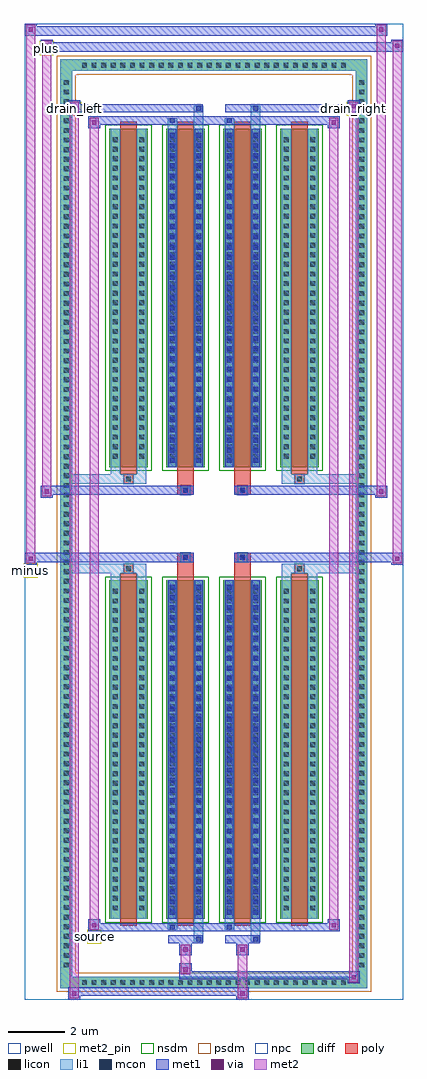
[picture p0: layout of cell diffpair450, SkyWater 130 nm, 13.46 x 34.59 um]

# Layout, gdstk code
import gdstk
lib = gdstk.Library(unit=1e-6, precision=5e-09)
def R(c, l, rs):  # rectangles x0, y0, x1, y1
    for r in rs: c.add(gdstk.rectangle(r[:2], r[2:], *l))
def A(c, l, x, y, w, h, nx, ny, dx, dy):  # array of equal rectangles
    R(c, l, [(x+i*dx, y+j*dy, x+i*dx+w, y+j*dy+h) for i in range(nx) for j in range(ny)])
def P(c, l, *ps):  # polygons
    for p in ps: c.add(gdstk.Polygon(p, *l))
pwell = (64, 44)
diff = (65, 20)
poly = (66, 20)
licon = (66, 44)
li1 = (67, 20)
mcon = (67, 44)
met1 = (68, 20)
via = (68, 44)
met2_pin = (69, 16)
met2 = (69, 20)
nsdm = (93, 44)
psdm = (94, 20)
npc = (95, 20)

diffpair450 = lib.new_cell('diffpair450')
R(diffpair450, pwell, [(-6.71,-16.86,6.71,17.73), (-4.03,-15.05,-0.01,-0.825), (0.01,-15.05,4.03,-0.825), (-4.03,0.825,-0.01,15.05), (0.01,0.825,4.03,15.05)])
A(diffpair450, diff, -4.795, -16.46, 0.41, 0.41, 28, 2, 0.34, 32.51)
A(diffpair450, diff, -5.44, -15.845, 0.41, 0.41, 1, 93, 0, 0.34)
A(diffpair450, diff, 5.03, -15.845, 0.41, 0.41, 1, 93, 0, 0.34)
A(diffpair450, diff, -3.72, -14.005, 1.38, 12, 4, 2, 2.02, 16.01)
R(diffpair450, diff, [(-4.795,-16.46,4.795,-16.05), (-5.44,-15.845,-5.03,15.845), (5.03,-15.845,5.44,15.845), (-4.795,16.05,4.795,16.46)])
P(diffpair450, diff, [(5.44,16.46),(-5.44,16.46),(-5.44,-16.05),(-5.03,-16.05),(-5.03,16.05),(5.03,16.05),(5.03,-16.05),(-5.03,-16.05),(-5.44,-16.05),(-5.44,-16.46),(5.44,-16.46)])
A(diffpair450, poly, -3.33, -14.255, 0.6, 12.5, 4, 2, 2.02, 16.01)
R(diffpair450, poly, [(-3.195,-1.755,-2.865,-1.425), (-3.195,-1.755,-2.865,-1.425), (-1.31,-1.755,-0.71,-1.355), (0.71,-1.755,1.31,-1.355), (2.865,-1.755,3.195,-1.425), (2.865,-1.755,3.195,-1.425), (-1.31,-1.355,-0.71,-1.025), (-1.175,-1.355,-0.845,-1.025), (0.71,-1.355,1.31,-1.025), (0.845,-1.355,1.175,-1.025), (-1.31,1.025,-0.71,1.355), (-1.175,1.025,-0.845,1.355), (0.71,1.025,1.31,1.355), (0.845,1.025,1.175,1.355), (-1.31,1.355,-0.71,1.755), (0.71,1.355,1.31,1.755), (-3.195,1.425,-2.865,1.755), (-3.195,1.425,-2.865,1.755), (2.865,1.425,3.195,1.755), (2.865,1.425,3.195,1.755)])
A(diffpair450, licon, -4.675, -16.34, 0.17, 0.17, 28, 2, 0.34, 32.51)
A(diffpair450, licon, -5.32, -15.725, 0.17, 0.17, 1, 93, 0, 0.34)
A(diffpair450, licon, 5.15, -15.725, 0.17, 0.17, 1, 93, 0, 0.34)
A(diffpair450, licon, -3.58, -13.7, 0.17, 0.17, 1, 34, 0, 0.34)
A(diffpair450, licon, -2.65, -13.7, 0.17, 0.17, 1, 34, 0, 0.34)
A(diffpair450, licon, -1.56, -13.7, 0.17, 0.17, 1, 34, 0, 0.34)
A(diffpair450, licon, -0.63, -13.7, 0.17, 0.17, 1, 34, 0, 0.34)
A(diffpair450, licon, 0.46, -13.7, 0.17, 0.17, 1, 34, 0, 0.34)
A(diffpair450, licon, 1.39, -13.7, 0.17, 0.17, 1, 34, 0, 0.34)
A(diffpair450, licon, 2.48, -13.7, 0.17, 0.17, 1, 34, 0, 0.34)
A(diffpair450, licon, 3.41, -13.7, 0.17, 0.17, 1, 34, 0, 0.34)
A(diffpair450, licon, -3.58, 2.31, 0.17, 0.17, 1, 34, 0, 0.34)
A(diffpair450, licon, -2.65, 2.31, 0.17, 0.17, 1, 34, 0, 0.34)
A(diffpair450, licon, -1.56, 2.31, 0.17, 0.17, 1, 34, 0, 0.34)
A(diffpair450, licon, -0.63, 2.31, 0.17, 0.17, 1, 34, 0, 0.34)
A(diffpair450, licon, 0.46, 2.31, 0.17, 0.17, 1, 34, 0, 0.34)
A(diffpair450, licon, 1.39, 2.31, 0.17, 0.17, 1, 34, 0, 0.34)
A(diffpair450, licon, 2.48, 2.31, 0.17, 0.17, 1, 34, 0, 0.34)
A(diffpair450, licon, 3.41, 2.31, 0.17, 0.17, 1, 34, 0, 0.34)
R(diffpair450, licon, [(-3.115,-1.675,-2.945,-1.505), (2.945,-1.675,3.115,-1.505), (-1.095,-1.275,-0.925,-1.105), (0.925,-1.275,1.095,-1.105), (-1.095,1.105,-0.925,1.275), (0.925,1.105,1.095,1.275), (-3.115,1.505,-2.945,1.675), (2.945,1.505,3.115,1.675)])
A(diffpair450, li1, -4.755, -16.42, 0.33, 0.33, 28, 2, 0.34, 32.51)
A(diffpair450, li1, -5.4, -15.805, 0.33, 0.33, 1, 93, 0, 0.34)
A(diffpair450, li1, 5.07, -15.805, 0.33, 0.33, 1, 93, 0, 0.34)
A(diffpair450, li1, -1.56, -13.85, 0.17, 0.17, 1, 33, 0, 0.36)
A(diffpair450, li1, -0.63, -13.85, 0.17, 0.17, 1, 33, 0, 0.36)
A(diffpair450, li1, 0.46, -13.85, 0.17, 0.17, 1, 33, 0, 0.36)
A(diffpair450, li1, 1.39, -13.85, 0.17, 0.17, 1, 33, 0, 0.36)
A(diffpair450, li1, -3.66, -13.78, 0.33, 0.33, 1, 34, 0, 0.34)
A(diffpair450, li1, -2.73, -13.78, 0.33, 0.33, 1, 34, 0, 0.34)
A(diffpair450, li1, -1.64, -13.78, 0.33, 0.33, 1, 34, 0, 0.34)
A(diffpair450, li1, -0.71, -13.78, 0.33, 0.33, 1, 34, 0, 0.34)
A(diffpair450, li1, 0.38, -13.78, 0.33, 0.33, 1, 34, 0, 0.34)
A(diffpair450, li1, 1.31, -13.78, 0.33, 0.33, 1, 34, 0, 0.34)
A(diffpair450, li1, 2.4, -13.78, 0.33, 0.33, 1, 34, 0, 0.34)
A(diffpair450, li1, 3.33, -13.78, 0.33, 0.33, 1, 34, 0, 0.34)
A(diffpair450, li1, -1.56, 2.16, 0.17, 0.17, 1, 33, 0, 0.36)
A(diffpair450, li1, -0.63, 2.16, 0.17, 0.17, 1, 33, 0, 0.36)
A(diffpair450, li1, 0.46, 2.16, 0.17, 0.17, 1, 33, 0, 0.36)
A(diffpair450, li1, 1.39, 2.16, 0.17, 0.17, 1, 33, 0, 0.36)
A(diffpair450, li1, -3.66, 2.23, 0.33, 0.33, 1, 34, 0, 0.34)
A(diffpair450, li1, -2.73, 2.23, 0.33, 0.33, 1, 34, 0, 0.34)
A(diffpair450, li1, -1.64, 2.23, 0.33, 0.33, 1, 34, 0, 0.34)
A(diffpair450, li1, -0.71, 2.23, 0.33, 0.33, 1, 34, 0, 0.34)
A(diffpair450, li1, 0.38, 2.23, 0.33, 0.33, 1, 34, 0, 0.34)
A(diffpair450, li1, 1.31, 2.23, 0.33, 0.33, 1, 34, 0, 0.34)
A(diffpair450, li1, 2.4, 2.23, 0.33, 0.33, 1, 34, 0, 0.34)
A(diffpair450, li1, 3.33, 2.23, 0.33, 0.33, 1, 34, 0, 0.34)
R(diffpair450, li1, [(-5.44,-16.46,-5.03,-16.05), (-5.44,-16.46,-5.03,-16.05), (-5.03,-16.46,5.03,-16.05), (5.03,-16.46,5.44,-16.05), (5.03,-16.46,5.44,-16.05), (-5.44,-16.05,-5.03,16.05), (5.03,-16.05,5.44,16.05), (-0.71,-14.81,-0.38,-14.005), (-0.63,-14.81,-0.46,-14.64), (1.31,-14.81,1.64,-14.005), (1.39,-14.81,1.56,-14.64), (-1.64,-14.38,-1.31,-14.005), (-1.56,-14.38,-1.39,-14.21), (0.38,-14.38,0.71,-14.005), (0.46,-14.38,0.63,-14.21), (-3.66,-14.005,-3.33,-2.005), (-2.73,-14.005,-2.4,-2.005), (-1.64,-14.005,-1.31,-2.005), (-0.71,-14.005,-0.38,-2.005), (0.38,-14.005,0.71,-2.005), (1.31,-14.005,1.64,-2.005), (2.4,-14.005,2.73,-2.005), (3.33,-14.005,3.66,-2.005), (-1.56,-13.85,-1.39,-2.16), (-0.63,-13.85,-0.46,-2.16), (0.46,-13.85,0.63,-2.16), (1.39,-13.85,1.56,-2.16), (-3.66,-2.005,-3.33,-1.425), (-2.73,-2.005,-2.4,-1.425), (2.4,-2.005,2.73,-1.425), (3.33,-2.005,3.66,-1.425), (-5.44,-1.755,-3.195,-1.425), (-3.66,-1.755,-3.195,-1.425), (-3.195,-1.755,-2.865,-1.425), (-2.865,-1.755,-2.4,-1.425), (2.4,-1.755,2.865,-1.425), (2.865,-1.755,3.195,-1.425), (2.865,-1.755,5.44,-1.425), (3.195,-1.755,3.66,-1.425), (-1.175,-1.355,-0.845,-1.025), (0.845,-1.355,1.175,-1.025), (-1.175,1.025,-0.845,1.355), (0.845,1.025,1.175,1.355), (-5.44,1.425,-3.195,1.755), (-3.66,1.425,-3.195,1.755), (-3.66,1.425,-3.33,2.005), (-3.195,1.425,-2.865,1.755), (-2.865,1.425,-2.4,1.755), (-2.73,1.425,-2.4,2.005), (2.4,1.425,2.865,1.755), (2.4,1.425,2.73,2.005), (2.865,1.425,3.195,1.755), (2.865,1.425,5.44,1.755), (3.195,1.425,3.66,1.755), (3.33,1.425,3.66,2.005), (-3.66,2.005,-3.33,14.005), (-2.73,2.005,-2.4,14.005), (-1.64,2.005,-1.31,14.005), (-0.71,2.005,-0.38,14.005), (0.38,2.005,0.71,14.005), (1.31,2.005,1.64,14.005), (2.4,2.005,2.73,14.005), (3.33,2.005,3.66,14.005), (-1.56,2.16,-1.39,13.85), (-0.63,2.16,-0.46,13.85), (0.46,2.16,0.63,13.85), (1.39,2.16,1.56,13.85), (-1.64,14.005,-1.31,14.38), (-0.71,14.005,-0.38,14.81), (0.38,14.005,0.71,14.38), (1.31,14.005,1.64,14.81), (-1.56,14.21,-1.39,14.38), (0.46,14.21,0.63,14.38), (-0.63,14.64,-0.46,14.81), (1.39,14.64,1.56,14.81), (-5.44,16.05,-5.03,16.46), (-5.44,16.05,-5.03,16.46), (-5.03,16.05,5.03,16.46), (5.03,16.05,5.44,16.46), (5.03,16.05,5.44,16.46)])
A(diffpair450, mcon, -1.56, -13.85, 0.17, 0.17, 1, 33, 0, 0.36)
A(diffpair450, mcon, -0.63, -13.85, 0.17, 0.17, 1, 33, 0, 0.36)
A(diffpair450, mcon, 0.46, -13.85, 0.17, 0.17, 1, 33, 0, 0.36)
A(diffpair450, mcon, 1.39, -13.85, 0.17, 0.17, 1, 33, 0, 0.36)
A(diffpair450, mcon, -1.56, 2.16, 0.17, 0.17, 1, 33, 0, 0.36)
A(diffpair450, mcon, -0.63, 2.16, 0.17, 0.17, 1, 33, 0, 0.36)
A(diffpair450, mcon, 0.46, 2.16, 0.17, 0.17, 1, 33, 0, 0.36)
A(diffpair450, mcon, 1.39, 2.16, 0.17, 0.17, 1, 33, 0, 0.36)
R(diffpair450, mcon, [(-0.63,-14.81,-0.46,-14.64), (1.39,-14.81,1.56,-14.64), (-1.56,-14.38,-1.39,-14.21), (0.46,-14.38,0.63,-14.21), (-1.095,-1.275,-0.925,-1.105), (0.925,-1.275,1.095,-1.105), (-1.095,1.105,-0.925,1.275), (0.925,1.105,1.095,1.275), (-1.56,14.21,-1.39,14.38), (0.46,14.21,0.63,14.38), (-0.63,14.64,-0.46,14.81), (1.39,14.64,1.56,14.81)])
A(diffpair450, met1, -1.62, -13.91, 0.29, 0.29, 1, 33, 0, 0.36)
A(diffpair450, met1, -0.69, -13.91, 0.29, 0.29, 1, 33, 0, 0.36)
A(diffpair450, met1, 0.4, -13.91, 0.29, 0.29, 1, 33, 0, 0.36)
A(diffpair450, met1, 1.33, -13.91, 0.29, 0.29, 1, 33, 0, 0.36)
A(diffpair450, met1, -1.62, 2.1, 0.29, 0.29, 1, 33, 0, 0.36)
A(diffpair450, met1, -0.69, 2.1, 0.29, 0.29, 1, 33, 0, 0.36)
A(diffpair450, met1, 0.4, 2.1, 0.29, 0.29, 1, 33, 0, 0.36)
A(diffpair450, met1, 1.33, 2.1, 0.29, 0.29, 1, 33, 0, 0.36)
R(diffpair450, met1, [(-5.17,-16.86,-4.74,-16.43), (0.795,-16.86,1.225,-16.43), (-5.17,-16.72,1.225,-16.43), (4.74,-16.29,5.17,-15.86), (-1.225,-16.15,5.17,-15.86), (-1.225,-16.01,-0.795,-15.58), (-1.225,-15.3,-0.795,-14.87), (0.795,-15.3,1.225,-14.87), (-1.62,-14.87,-0.4,-14.58), (-0.69,-14.87,-0.4,-14.58), (0.4,-14.87,1.62,-14.58), (1.33,-14.87,1.62,-14.58), (-4.46,-14.44,-4.03,-14.01), (-4.46,-14.44,-1.62,-14.15), (-1.62,-14.44,-1.33,-14.15), (-1.62,-14.44,-0.4,-14.15), (-0.4,-14.44,0.4,-14.15), (0.4,-14.44,0.69,-14.15), (0.4,-14.44,1.62,-14.15), (1.62,-14.44,4.46,-14.15), (4.03,-14.44,4.46,-14.01), (-1.62,-14.005,-1.33,-2.005), (-0.69,-14.005,-0.4,-2.005), (0.4,-14.005,0.69,-2.005), (1.33,-14.005,1.62,-2.005), (-6.71,-1.455,-6.28,-1.025), (6.28,-1.455,6.71,-1.025), (-6.71,-1.355,-0.71,-1.025), (-1.31,-1.355,-0.71,-1.025), (0.71,-1.355,1.31,-1.025), (0.71,-1.355,6.71,-1.025), (-1.155,-1.335,-0.865,-1.045), (0.865,-1.335,1.155,-1.045), (-6.14,0.925,-5.71,1.355), (5.71,0.925,6.14,1.355), (-6.14,1.025,-1.31,1.355), (-1.31,1.025,-0.71,1.355), (0.71,1.025,1.31,1.355), (1.31,1.025,6.14,1.355), (-1.155,1.045,-0.865,1.335), (0.865,1.045,1.155,1.335), (-1.62,2.005,-1.33,14.005), (-0.69,2.005,-0.4,14.005), (0.4,2.005,0.69,14.005), (1.33,2.005,1.62,14.005), (-4.46,14.01,-4.03,14.44), (4.03,14.01,4.46,14.44), (-4.46,14.15,-1.62,14.44), (-1.62,14.15,-1.33,14.44), (-1.62,14.15,-0.4,14.44), (-0.4,14.15,0.4,14.44), (0.4,14.15,0.69,14.44), (0.4,14.15,1.62,14.44), (1.62,14.15,4.46,14.44), (-5.17,14.58,-4.74,15.01), (-5.17,14.58,-1.62,14.87), (-1.62,14.58,-0.4,14.87), (-0.69,14.58,-0.4,14.87), (0.4,14.58,1.62,14.87), (1.33,14.58,1.62,14.87), (1.62,14.58,5.17,14.87), (4.74,14.58,5.17,15.01), (-6.14,16.73,-5.71,17.16), (-6.14,16.73,-4.03,17.06), (-4.03,16.73,4.03,17.06), (4.03,16.73,6.71,17.06), (6.28,16.73,6.71,17.16), (-6.71,17.3,-6.28,17.73), (-6.71,17.3,-4.03,17.63), (-4.03,17.3,4.03,17.63), (4.03,17.3,6.14,17.63), (5.71,17.3,6.14,17.73)])
R(diffpair450, via, [(-5.03,-16.72,-4.88,-16.57), (0.935,-16.72,1.085,-16.57), (4.88,-16.15,5.03,-16), (-1.085,-15.87,-0.935,-15.72), (-1.085,-15.16,-0.935,-15.01), (0.935,-15.16,1.085,-15.01), (-4.32,-14.3,-4.17,-14.15), (4.17,-14.3,4.32,-14.15), (-6.57,-1.315,-6.42,-1.165), (6.42,-1.315,6.57,-1.165), (-6,1.065,-5.85,1.215), (5.85,1.065,6,1.215), (-4.32,14.15,-4.17,14.3), (4.17,14.15,4.32,14.3), (-5.03,14.72,-4.88,14.87), (4.88,14.72,5.03,14.87), (-6,16.87,-5.85,17.02), (6.42,16.87,6.57,17.02), (-6.57,17.44,-6.42,17.59), (5.85,17.44,6,17.59)])
R(diffpair450, met2_pin, [(-4.495,-14.89,-3.995,-14.39), (-6.745,-1.905,-6.245,-1.405), (-5.205,14.46,-4.705,14.96), (4.705,14.46,5.205,14.96), (-6.175,16.61,-5.675,17.11)])
R(diffpair450, met2, [(-5.12,-16.81,-4.79,-16.48), (-5.12,-16.81,-4.79,14.96), (0.845,-16.81,1.175,-16.48), (0.845,-16.48,1.175,-15.25), (4.79,-16.24,5.12,-15.91), (4.79,-16.24,5.12,14.96), (-1.175,-15.96,-0.845,-15.63), (-1.175,-15.63,-0.845,-15.25), (-1.175,-15.25,-0.845,-14.92), (0.845,-15.25,1.175,-14.92), (-4.41,-14.39,-4.08,-14.06), (-4.41,-14.39,-4.08,14.39), (4.08,-14.39,4.41,-14.06), (4.08,-14.39,4.41,14.39), (-6.66,-1.405,-6.33,-1.075), (-6.66,-1.405,-6.33,17.68), (6.33,-1.405,6.66,-1.075), (6.33,-1.405,6.66,17.11), (-6.09,0.975,-5.76,1.305), (-6.09,0.975,-5.76,17.11), (5.76,0.975,6.09,1.305), (5.76,0.975,6.09,17.68), (-4.41,14.06,-4.08,14.39), (4.08,14.06,4.41,14.39), (-5.12,14.63,-4.79,14.96), (4.79,14.63,5.12,14.96), (-6.09,16.78,-5.76,17.11), (6.33,16.78,6.66,17.11), (-6.66,17.35,-6.33,17.68), (5.76,17.35,6.09,17.68)])
P(diffpair450, met2, [(6.66,-1.405),(6.66,-1.405),(6.66,-1.075),(6.66,-1.075)],
  [(6.66,16.78),(6.66,16.78),(6.66,17.11),(6.66,17.11)],
  [(-6.33,-1.405),(-6.33,-1.405),(-6.33,-1.075),(-6.33,-1.075)],
  [(-6.33,17.35),(-6.33,17.35),(-6.33,17.68),(-6.33,17.68)],
  [(6.09,0.975),(6.09,0.975),(6.09,1.305),(6.09,1.305)],
  [(6.09,17.35),(6.09,17.35),(6.09,17.68),(6.09,17.68)],
  [(-5.76,0.975),(-5.76,0.975),(-5.76,1.305),(-5.76,1.305)],
  [(-5.76,16.78),(-5.76,16.78),(-5.76,17.11),(-5.76,17.11)],
  [(-4.79,-16.81),(-4.79,-16.81),(-4.79,-16.48),(-4.79,-16.48)],
  [(-4.79,14.63),(-4.79,14.63),(-4.79,14.96),(-4.79,14.96)],
  [(5.12,-16.24),(5.12,-16.24),(5.12,-15.91),(5.12,-15.91)],
  [(5.12,14.63),(5.12,14.63),(5.12,14.96),(5.12,14.96)],
  [(-4.08,-14.39),(-4.08,-14.39),(-4.08,-14.06),(-4.08,-14.06)],
  [(-4.08,14.06),(-4.08,14.06),(-4.08,14.39),(-4.08,14.39)],
  [(4.41,-14.39),(4.41,-14.39),(4.41,-14.06),(4.41,-14.06)],
  [(4.41,14.06),(4.41,14.06),(4.41,14.39),(4.41,14.39)])
A(diffpair450, nsdm, -3.85, -14.135, 1.64, 12.26, 4, 2, 2.02, 16.01)
P(diffpair450, psdm, [(5.57,16.59),(-5.57,16.59),(-5.57,-15.92),(-4.9,-15.92),(-4.9,15.92),(4.9,15.92),(4.9,-15.92),(-4.9,-15.92),(-5.57,-15.92),(-5.57,-16.59),(5.57,-16.59)])
R(diffpair450, npc, [(-3.215,-1.775,-2.845,-1.405), (2.845,-1.775,3.215,-1.405), (-1.195,-1.375,-0.825,-1.005), (0.825,-1.375,1.195,-1.005), (-1.195,1.005,-0.825,1.375), (0.825,1.005,1.195,1.375), (-3.215,1.405,-2.845,1.775), (2.845,1.405,3.215,1.775)])
diffpair450.add(gdstk.Label('minus', (-6.495,-1.655), layer=69, texttype=5))
diffpair450.add(gdstk.Label('drain_right', (4.955,14.71), layer=69, texttype=5))
diffpair450.add(gdstk.Label('drain_left', (-4.955,14.71), layer=69, texttype=5))
diffpair450.add(gdstk.Label('source', (-4.245,-14.64), layer=69, texttype=5))
diffpair450.add(gdstk.Label('plus', (-5.925,16.86), layer=69, texttype=5))

lib.write_gds('diffpair450.gds')
